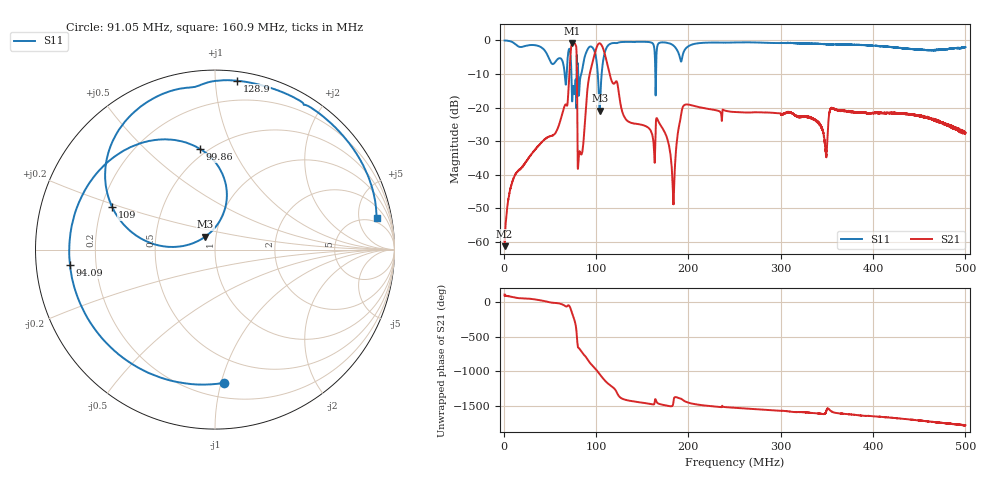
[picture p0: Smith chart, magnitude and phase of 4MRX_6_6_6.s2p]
! NanoVNA-App
! Date: 2026-08-19 14:24:04
! Start: 1MHz Stop: 500MHz Points: 6401
! S-Parameter data: F S11 S21 S12 S22
# Hz S RI R 50
!  Frequency  S11_Real  S11_Imag  S21_Real  S21_Imag  S12_Real  S12_Imag  S22_Real  S22_Imag
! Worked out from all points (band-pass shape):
!   6401 points, 1 MHz to 500 MHz, reference 50 ohm
!   highest |S21| = -0.77 dB at 74.45 MHz (marker M1); lowest = -61.3 dB at 1 MHz (marker M2)
!   |S21| within 3 dB of the highest: 72.48 MHz to 78.9 MHz (6.42 MHz wide, 8.48 % of centre); 98.78 MHz to 109.3 MHz (10.47 MHz wide, 10.1 % of centre)
!   lowest |S11| = -20.9 dB at 103.9 MHz (marker M3), VSWR 1.20, Z = 44.5 + j6.5 ohm
!   |S11| at or under -10 dB: 73.32 MHz to 78.84 MHz (5.518 MHz wide, 7.25 % of centre); 80.7 MHz to 84 MHz (3.298 MHz wide, 4 % of centre); 101.9 MHz to 106.1 MHz (4.173 MHz wide, 4.01 % of centre)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
!   S12 and S22 are empty: the file has one direction only
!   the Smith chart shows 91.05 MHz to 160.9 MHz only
!   S11 on the Smith chart (normalised r, x): 91.05 MHz: 0.31, -1.02; 94.09 MHz: 0.10, -0.05; 99.86 MHz: 0.46, +0.75; 109 MHz: 0.24, +0.19; 128.9 MHz: 0.06, +1.14; 160.9 MHz: 3.92, +8.62
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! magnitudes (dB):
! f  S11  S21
! 1 MHz  0.0  -61.3
! 11.99 MHz  -0.9  -40.2
! 59.55 MHz  -5.3  -25.4
! 74.45 MHz  -17.1  -0.8
! 77.02 MHz  -15.0  -0.9
! 84.19 MHz  -9.8  -34.0
! 91.05 MHz  -2.6  -13.6
! 94.09 MHz  -1.8  -8.8
! 99.86 MHz  -4.9  -2.7
! 103.9 MHz  -20.9  -0.9
! 109 MHz  -4.2  -3.5
! 128.9 MHz  -0.5  -21.6
! 160.9 MHz  -0.8  -28.0
! 167.4 MHz  -1.0  -24.0
! 183.5 MHz  -1.5  -47.1
! 195.7 MHz  -3.0  -19.2
! 250.5 MHz  -0.6  -21.3
! 333.7 MHz  -1.0  -23.0
! 348.4 MHz  -1.1  -32.3
! 355.5 MHz  -1.2  -20.2
! 416.9 MHz  -1.9  -21.5
! 500 MHz  -2.0  -27.6
